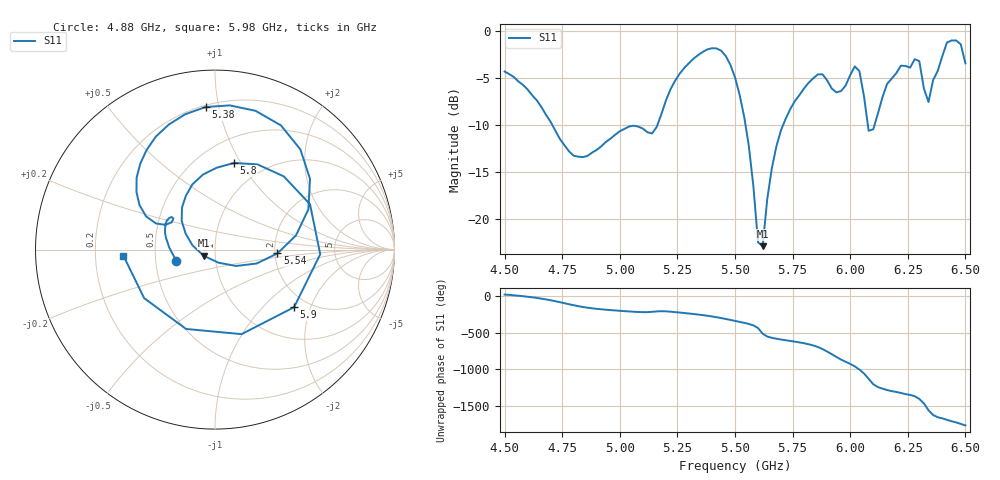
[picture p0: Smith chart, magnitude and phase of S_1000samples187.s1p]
! TOUCHSTONE file generated by CST MICROWAVE STUDIO
! Date and time: Thu Oct 27 07:30:09 2022
! Project name: L.cst
! Parameters = {Di=1.27; Epsilon_r=1.56; InnerDiameter=1.27; Length=2; Lf=10; Lg=60; OuterConductorThickness=0.2921; OuterDiameter=3.6; Wf=3; Wp=41.2; de=1.5; df=6.8; g=0.8; gx=2.24005; gy=0.494818; h=2.34; hf=1.524; px=12.9266; py=13.075; w=9.7; wx=10.6866; wy=12.5802}
! Header version: 2018
! Port assignment regex: !\s*Touchstone port\s*([0-9]+)\s*=\s*(CST MWS port|CST DS port)\s*([0-9]+|Zmin|Zmax)\s*\(\"(.*)\"\)(\s*mode\s*([0-9]+))?.*
! Touchstone port assignment:
! Touchstone port 1 = CST MWS port 1 ("")
# GHz S DB R 50
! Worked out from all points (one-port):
!   101 points, 4.5 GHz to 6.5 GHz, reference 50 ohm
!   lowest |S11| = -22.9 dB at 5.62 GHz (marker M1), VSWR 1.15, Z = 44 - j3.04 ohm
!   |S11| at or under -10 dB: 4.707 GHz to 5.163 GHz (456.2 MHz wide, 9.24 % of centre); 5.546 GHz to 5.709 GHz (163.5 MHz wide, 2.91 % of centre); 6.076593 GHz to 6.105601 GHz (29.01 MHz wide, 0.476 % of centre)
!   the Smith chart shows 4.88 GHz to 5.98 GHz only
!   S11 on the Smith chart (normalised r, x): 4.88 GHz: 0.64, -0.08; 5.38 GHz: 0.21, +0.91; 5.54 GHz: 2.06, -0.10; 5.8 GHz: 0.73, +0.94; 5.9 GHz: 1.69, -1.54; 5.98 GHz: 0.32, -0.03
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4.5  -4.33 24.1
4.76  -12.16 -94.4
4.88  -12.93 -164.2
5  -10.66 161.6
5.26  -4.55 137.5
5.38  -1.98 93.8
5.5  -4.95 23.3
5.54  -9.15 -3.5
5.62  -22.87 -151.4
5.76  -7.46 99.0
5.8  -6.11 77.5
5.86  -4.63 25.5
5.9  -5.27 -36.1
5.94  -6.55 -110.0
5.98  -5.83 -176.2
6  -4.71 155.1
6.04  -4.30 77.3
6.06  -6.98 23.6
6.08  -10.62 -49.6
6.14  -7.06 176.3
6.26  -3.92 90.1
6.3  -3.23 34.8
6.32  -6.14 -26.7
6.34  -7.56 -120.0
6.36  -5.22 174.3
6.42  -1.25 109.3
6.46  -1.03 73.6
6.5  -3.46 32.1
